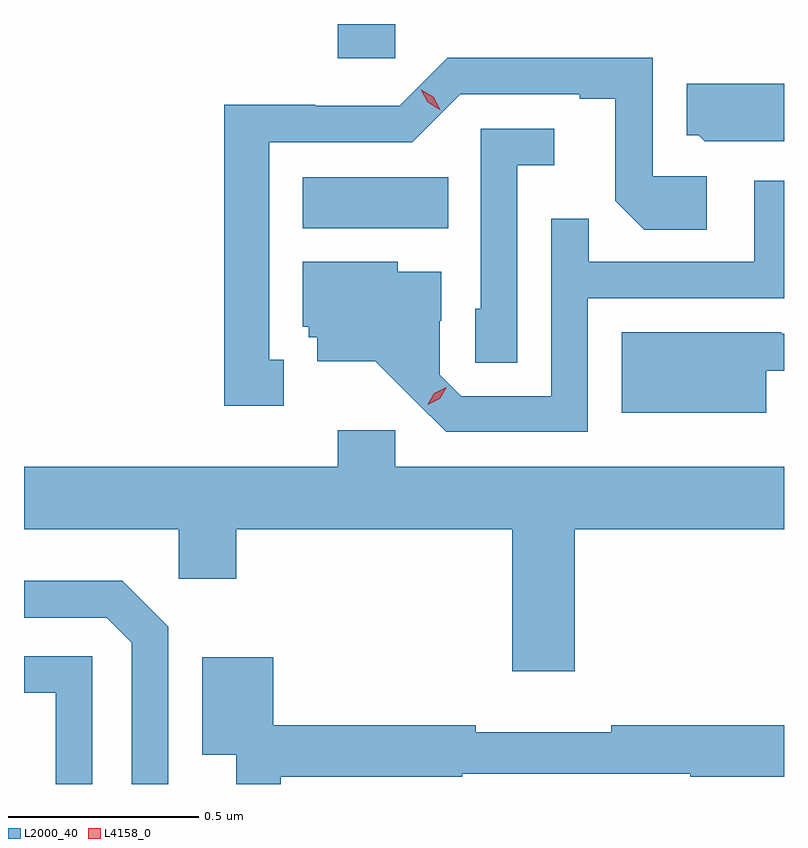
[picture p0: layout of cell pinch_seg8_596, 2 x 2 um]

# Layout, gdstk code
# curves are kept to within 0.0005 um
import gdstk
lib = gdstk.Library(unit=1e-6, precision=1e-09)
def R(c, l, rs):  # rectangles x0, y0, x1, y1
    for r in rs: c.add(gdstk.rectangle(r[:2], r[2:], *l))
def P(c, l, *ps):  # polygons
    for p in ps: c.add(gdstk.Polygon(p, *l))
L2000_40 = (2000, 40)
L4158_0 = (4158, 0)

pinch_seg8_596 = lib.new_cell('pinch_seg8_596')
R(pinch_seg8_596, L2000_40, [(176.444,1090.652,176.828,1090.786), (176.537,1091.099,176.688,1091.189)])
P(pinch_seg8_596, L2000_40, [(176.395,1090.305),(176.356,1090.305),(176.356,1090.878),(176.733,1090.878),(176.859,1091.004),(177.173,1091.004),(177.173,1090.992),(177.267,1090.992),(177.267,1090.724),(177.343,1090.648),(177.508,1090.648),(177.508,1090.788),(177.366,1090.788),(177.366,1091.1),(176.826,1091.1),(176.7,1090.974),(176.478,1090.974),(176.478,1090.976),(176.238,1090.976),(176.238,1090.185),(176.395,1090.185)],
  [(177.636,1090.881),(177.711,1090.881),(177.711,1091.032),(177.455,1091.032),(177.455,1090.896),(177.486,1090.896),(177.502,1090.88),(177.636,1090.88)],
  [(177.009,1090.817),(177.106,1090.817),(177.106,1090.914),(176.913,1090.914),(176.913,1090.44),(176.898,1090.44),(176.898,1090.297),(177.009,1090.297)],
  [(177.195,1090.467),(177.711,1090.467),(177.711,1090.777),(177.633,1090.777),(177.633,1090.563),(177.197,1090.563),(177.197,1090.676),(177.099,1090.676),(177.099,1090.209),(176.862,1090.209),(176.805,1090.266),(176.805,1090.408),(176.809,1090.408),(176.809,1090.537),(176.694,1090.537),(176.694,1090.564),(176.444,1090.564),(176.444,1090.392),(176.46,1090.392),(176.46,1090.365),(176.483,1090.365),(176.483,1090.301),(176.635,1090.301),(176.822,1090.116),(177.195,1090.116)],
  [(177.664,1090.277),(177.711,1090.277),(177.711,1090.374),(177.704,1090.374),(177.704,1090.378),(177.284,1090.378),(177.284,1090.166),(177.664,1090.166)],
  [(177.16,1089.86),(177.711,1089.86),(177.711,1090.024),(176.688,1090.024),(176.688,1090.12),(176.537,1090.12),(176.537,1090.024),(175.711,1090.024),(175.711,1089.86),(176.118,1089.86),(176.118,1089.729),(176.27,1089.729),(176.27,1089.86),(176.996,1089.86),(176.996,1089.486),(177.16,1089.486)],
  [(176.091,1089.603),(175.97,1089.724),(175.711,1089.724),(175.711,1089.627),(175.929,1089.627),(175.995,1089.561),(175.995,1089.189),(176.091,1089.189)],
  [(175.89,1089.525),(175.711,1089.525),(175.711,1089.429),(175.794,1089.429),(175.794,1089.189),(175.89,1089.189)],
  [(176.387,1089.208),(176.864,1089.208),(176.864,1089.216),(177.464,1089.216),(177.464,1089.208),(177.711,1089.208),(177.711,1089.344),(177.256,1089.344),(177.256,1089.325),(176.9,1089.325),(176.9,1089.344),(176.367,1089.344),(176.367,1089.523),(176.18,1089.523),(176.18,1089.266),(176.27,1089.266),(176.27,1089.189),(176.387,1089.189)])
P(pinch_seg8_596, L4158_0, [(176.774,1090.187),(176.774,1090.188),(176.791,1090.217),(176.822,1090.233),(176.822,1090.233),(176.822,1090.232),(176.805,1090.203),(176.774,1090.187)],
  [(176.805,1090.964),(176.774,1090.983),(176.756,1091.015),(176.756,1091.016),(176.757,1091.016),(176.788,1090.997),(176.806,1090.964),(176.806,1090.964)])

lib.write_gds('pinch_seg8_596.gds')
